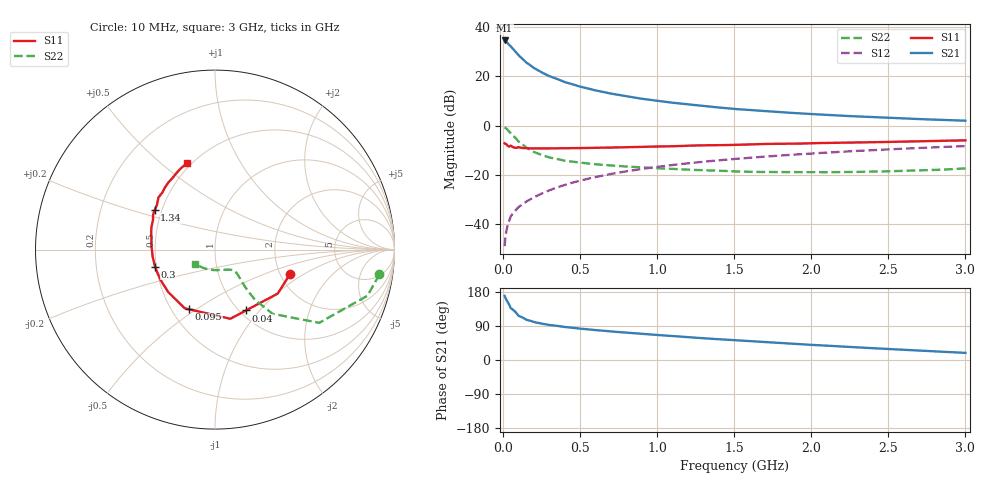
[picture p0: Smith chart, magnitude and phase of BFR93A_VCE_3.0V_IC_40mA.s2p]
! Infineon Technologies  Discrete & RF Semiconductors
! BFR93A
! VCE =  3.0 V,  IC =  40 mA
! Common Emitter S-Parameters:  Nov 2015
# GHz  S  MA  R  50
!  f  S11  S21  S12  S22
! GHz  MAG  ANG  MAG  ANG  MAG  ANG  MAG  ANG
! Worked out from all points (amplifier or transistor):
!   180 points, 10 MHz to 3 GHz, reference 50 ohm
!   highest |S21| = 34.6 dB at 10 MHz (marker M1)
!   |S21| within 3 dB of that: start of sweep to 58.85 MHz
!   unconditionally stable (mu >= 1): 285.5 MHz to 2.952 GHz
!   at 160 MHz: K = 0.85, MSG = 27.9 dB, |S12| = -30.5 dB
!   at 1.22 GHz: K = 1.08, MAG = 10.1 dB, |S12| = -15.1 dB
!   at 3 GHz: K = 1.00, MSG = 5.2 dB, |S12| = -8.2 dB
!   S11 on the Smith chart (normalised r, x): 10 MHz: 2.26, -0.76; 40 MHz: 1.07, -0.85; 95 MHz: 0.61, -0.47; 300 MHz: 0.49, -0.11; 1.34 GHz: 0.46, +0.24; 3 GHz: 0.47, +0.61
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0.01  0.4398 -18.0  53.88 169.3  0.0036 82.6  0.9264 -8.6
0.02  0.4269 -35.0  51.47 159.6  0.007 77.1  0.8879 -16.8
0.04  0.3805 -62.9  43.58 145.6  0.012 69.5  0.7598 -28.1
0.05  0.3948 -77.5  40.88 136.8  0.0145 67.7  0.7096 -35.1
0.095  0.3622 -113.3  28.07 119.6  0.0215 64.8  0.5021 -46.3
0.1  0.3678 -117.3  26.88 116.7  0.0223 64.6  0.4808 -48.1
0.15  0.3521 -137.8  19.26 106.4  0.0287 65.7  0.3604 -51.4
0.2  0.3472 -150.5  14.89 100.3  0.0353 68.0  0.2945 -51.5
0.24  0.346 -157.1  12.64 96.9  0.0406 69.2  0.2623 -51.0
0.26  0.3464 -159.8  11.7 95.2  0.0433 69.7  0.249 -50.6
0.3  0.3475 -164.2  10.17 92.5  0.0489 70.6  0.228 -49.7
0.4  0.3497 -173.7  7.705 87.1  0.0629 71.7  0.1953 -48.1
0.52  0.3535 177.8  6.021 82.0  0.0798 71.6  0.1756 -47.3
0.6  0.3574 173.5  5.217 78.9  0.091 71.3  0.165 -47.3
0.7  0.361 169.2  4.497 75.3  0.1052 70.6  0.1563 -48.3
0.9  0.3749 161.1  3.534 69.1  0.1328 68.8  0.1424 -51.9
1.02  0.3798 156.5  3.147 65.5  0.149 67.2  0.137 -54.7
1.34  0.4021 146.7  2.446 56.4  0.1914 63.2  0.1241 -65.3
1.52  0.4105 141.7  2.174 51.6  0.2142 61.0  0.1181 -72.9
2.02  0.4436 129.2  1.716 39.6  0.2759 54.5  0.1142 -95.1
2.52  0.4717 118.3  1.441 28.6  0.3341 47.6  0.1195 -119.1
3  0.5056 108.0  1.268 18.8  0.3871 40.9  0.1364 -144.4
